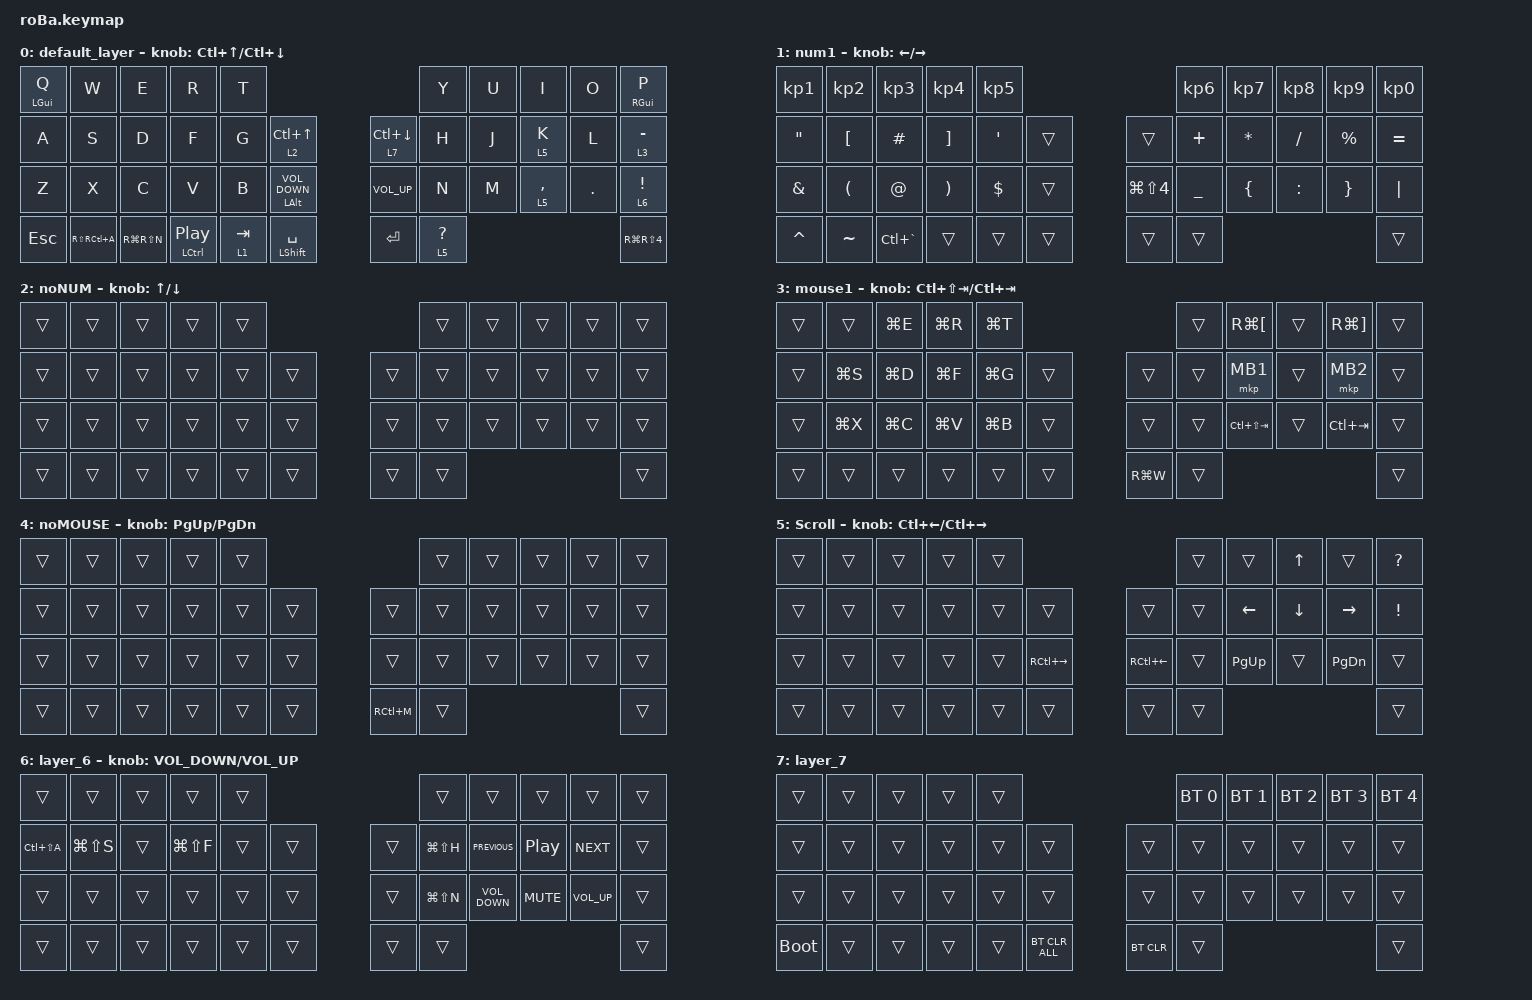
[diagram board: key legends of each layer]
#include <dt-bindings/zmk/mouse.h>
#include <behaviors.dtsi>
#include <dt-bindings/zmk/bt.h>
#include <dt-bindings/zmk/keys.h>
#include <dt-bindings/zmk/pointing.h>

#define MOUSE 4
#define SCROLL 5
#define NUM 6

&mt {
    flavor = "balanced";
    quick-tap-ms = <0>;
};

/* 【修正箇所】エラーの原因だった tap-ms を削除し、triggers-per-rotation のみにしました */

&sensors { triggers-per-rotation = <8>; };

/ {
    combos {
        compatible = "zmk,combos";

        backspace {
            bindings = <&kp BACKSPACE>;
            key-positions = <18 19>;
        };

        delete {
            bindings = <&kp DELETE>;
            key-positions = <20 19>;
        };

        kana {
            bindings = <&kp LANGUAGE_1>;
            key-positions = <13 12>;
        };

        eisu {
            bindings = <&kp LANGUAGE_2>;
            key-positions = <11 12>;
        };

        eisu2 {
            bindings = <&kp LANGUAGE_2>;
            key-positions = <10 11>;
        };
    };

    macros {
        to_layer_0: to_layer_0 {
            compatible = "zmk,behavior-macro-one-param";
            #binding-cells = <1>;
            bindings = <&to 0 &macro_param_1to1 &kp MACRO_PLACEHOLDER>;
            label = "TO_LAYER_0";
        };

        screenshot: new_macro {
            compatible = "zmk,behavior-macro";
            #binding-cells = <0>;
            bindings =
                <&macro_press>,
                <&kp LEFT_SHIFT &kp LEFT_WIN &kp KP_NUMBER_4>,
                <&macro_release>;

            label = "NEW_MACRO";
        };
    };

    behaviors {
        lt_to_layer_0: lt_to_layer_0 {
            compatible = "zmk,behavior-hold-tap";
            label = "LAYER_TAP_TO_0";
            bindings = <&mo>, <&to_layer_0>;

            #binding-cells = <2>;
            tapping-term-ms = <200>;
        };
    };

    keymap {
        compatible = "zmk,keymap";

        default_layer {
            bindings = <
&mt LEFT_GUI Q  &kp W          &kp E          &kp R                          &kp T                                                          &kp Y           &kp U  &kp I        &kp O    &mt RIGHT_GUI P
&kp A           &kp S          &kp D          &kp F                          &kp G      &lt 2 LC(UP_ARROW)            &lt 7 LC(DOWN_ARROW)  &kp H           &kp J  &lt 5 K      &kp L    &lt 3 MINUS
&kp Z           &kp X          &kp C          &kp V                          &kp B      &mt LEFT_ALT C_VOLUME_DOWN    &kp C_VOLUME_UP       &kp N           &kp M  &lt 5 COMMA  &kp DOT  &lt 6 EXCLAMATION
&kp ESCAPE      &kp RS(RC(A))  &kp RG(RS(N))  &mt LEFT_CONTROL C_PLAY_PAUSE  &lt 1 TAB  &mt LEFT_SHIFT SPACE          &kp ENTER             &lt 5 QUESTION                               &kp RG(RS(NUMBER_4))
            >;

            sensor-bindings = <&inc_dec_kp LC(UP_ARROW) LC(DOWN_ARROW)>;
        };

        num1 {
            bindings = <
&kp KP_NUMBER_1    &kp KP_NUMBER_2       &kp KP_NUMBER_3  &kp KP_NUMBER_4        &kp KP_NUMBER_5                                   &kp KP_NUMBER_6  &kp KP_NUMBER_7  &kp KP_NUMBER_8  &kp KP_NUMBER_9  &kp KP_NUMBER_0
&kp DOUBLE_QUOTES  &kp LEFT_BRACKET      &kp HASH         &kp RIGHT_BRACKET      &kp SINGLE_QUOTE  &trans    &trans                &kp PLUS         &kp ASTERISK     &kp SLASH        &kp PERCENT      &kp EQUAL
&kp AMPERSAND      &kp LEFT_PARENTHESIS  &kp AT_SIGN      &kp RIGHT_PARENTHESIS  &kp DOLLAR        &trans    &kp LG(LS(NUMBER_4))  &kp UNDERSCORE   &kp LEFT_BRACE   &kp COLON        &kp RIGHT_BRACE  &kp PIPE
&kp CARET          &kp TILDE             &kp LC(GRAVE)    &trans                 &trans            &trans    &trans                &trans                                                              &trans
            >;

            sensor-bindings = <&inc_dec_kp LEFT_ARROW RIGHT_ARROW>;
        };

        noNUM {
            bindings = <
&trans  &trans  &trans  &trans  &trans                    &trans  &trans  &trans  &trans  &trans
&trans  &trans  &trans  &trans  &trans  &trans    &trans  &trans  &trans  &trans  &trans  &trans
&trans  &trans  &trans  &trans  &trans  &trans    &trans  &trans  &trans  &trans  &trans  &trans
&trans  &trans  &trans  &trans  &trans  &trans    &trans  &trans                          &trans
            >;

            sensor-bindings = <&inc_dec_kp UP_ARROW DOWN_ARROW>;
        };

        mouse1 {
            bindings = <
&trans  &trans     &kp LG(E)  &kp LG(R)  &kp LG(T)                       &trans  &kp RG(LEFT_BRACKET)  &trans  &kp RG(RIGHT_BRACKET)  &trans
&trans  &kp LG(S)  &kp LG(D)  &kp LG(F)  &kp LG(G)  &trans    &trans     &trans  &mkp MB1              &trans  &mkp MB2               &trans
&trans  &kp LG(X)  &kp LG(C)  &kp LG(V)  &kp LG(B)  &trans    &trans     &trans  &kp LC(LS(TAB))       &trans  &kp LC(TAB)            &trans
&trans  &trans     &trans     &trans     &trans     &trans    &kp RG(W)  &trans                                                       &trans
            >;

            sensor-bindings = <&inc_dec_kp LC(LS(TAB)) LC(TAB)>;
        };

        noMOUSE {
            bindings = <
&trans  &trans  &trans  &trans  &trans                       &trans  &trans  &trans  &trans  &trans
&trans  &trans  &trans  &trans  &trans  &trans    &trans     &trans  &trans  &trans  &trans  &trans
&trans  &trans  &trans  &trans  &trans  &trans    &trans     &trans  &trans  &trans  &trans  &trans
&trans  &trans  &trans  &trans  &trans  &trans    &kp RC(M)  &trans                          &trans
            >;

            sensor-bindings = <&inc_dec_kp PAGE_UP PAGE_DOWN>;
        };

        Scroll {
            bindings = <
&trans  &trans  &trans  &trans  &trans                                             &trans  &trans          &kp UP_ARROW    &trans           &kp QUESTION
&trans  &trans  &trans  &trans  &trans  &trans                 &trans              &trans  &kp LEFT_ARROW  &kp DOWN_ARROW  &kp RIGHT_ARROW  &kp EXCLAMATION
&trans  &trans  &trans  &trans  &trans  &kp RC(RIGHT_ARROW)    &kp RC(LEFT_ARROW)  &trans  &kp PAGE_UP     &trans          &kp PAGE_DOWN    &trans
&trans  &trans  &trans  &trans  &trans  &trans                 &trans              &trans                                                   &trans
            >;

            sensor-bindings = <&inc_dec_kp LC(LEFT_ARROW) LC(RIGHT_ARROW)>;
        };

        layer_6 {
            bindings = <
&trans         &trans         &trans  &trans         &trans                    &trans         &trans             &trans            &trans           &trans
&kp LC(LS(A))  &kp LG(LS(S))  &trans  &kp LG(LS(F))  &trans  &trans    &trans  &kp LG(LS(H))  &kp C_PREVIOUS     &kp C_PLAY_PAUSE  &kp C_NEXT       &trans
&trans         &trans         &trans  &trans         &trans  &trans    &trans  &kp LG(LS(N))  &kp C_VOLUME_DOWN  &kp C_MUTE        &kp C_VOLUME_UP  &trans
&trans         &trans         &trans  &trans         &trans  &trans    &trans  &trans                                                               &trans
            >;

            sensor-bindings = <&inc_dec_kp C_VOLUME_DOWN C_VOLUME_UP>;
        };

        layer_7 {
            bindings = <
&trans       &trans  &trans  &trans  &trans                                &bt BT_SEL 0  &bt BT_SEL 1  &bt BT_SEL 2  &bt BT_SEL 3  &bt BT_SEL 4
&trans       &trans  &trans  &trans  &trans  &trans            &trans      &trans        &trans        &trans        &trans        &trans
&trans       &trans  &trans  &trans  &trans  &trans            &trans      &trans        &trans        &trans        &trans        &trans
&bootloader  &trans  &trans  &trans  &trans  &bt BT_CLR_ALL    &bt BT_CLR  &trans                                                  &trans
            >;
        };
    };
};
